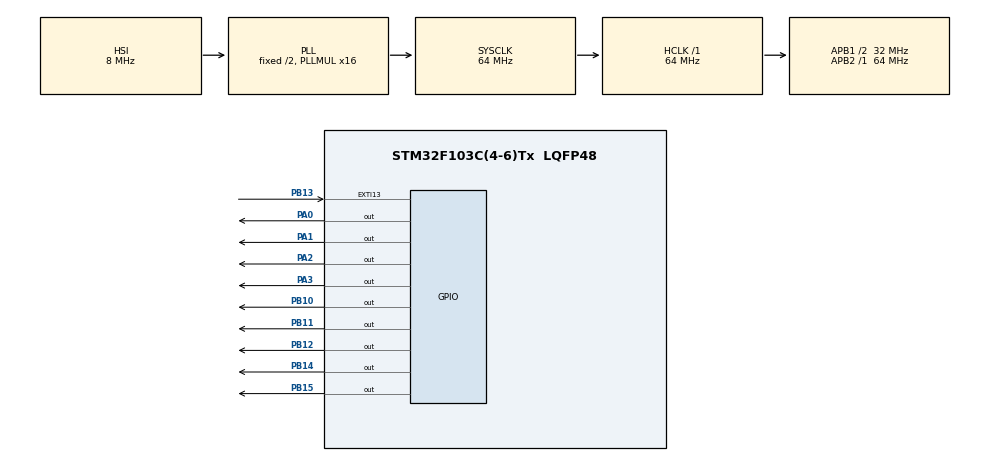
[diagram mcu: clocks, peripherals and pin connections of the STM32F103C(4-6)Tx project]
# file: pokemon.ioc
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FREERTOS.Tasks01=RedLight,0,128,StartRedLight,Default,NULL,Dynamic,NULL,NULL;GreenLight,0,128,StartGreenLight,Default,NULL,Dynamic,NULL,NULL
FREERTOS.configUSE_NEWLIB_REENTRANT=1
Mcu.Family=STM32F1
Mcu.Name=STM32F103C(4-6)Tx
Mcu.Package=LQFP48
NVIC.PriorityGroup=NVIC_PRIORITYGROUP_4
PA0-WKUP.Signal=GPIO_Output
PA1.Signal=GPIO_Output
PA2.Signal=GPIO_Output
PA3.Signal=GPIO_Output
PB10.Signal=GPIO_Output
PB11.Signal=GPIO_Output
PB12.Signal=GPIO_Output
PB13.Signal=GPXTI13
PB14.Signal=GPIO_Output
PB15.Signal=GPIO_Output
ProjectManager.HeapSize=0x200
ProjectManager.StackSize=0x400
ProjectManager.TargetToolchain=STM32CubeIDE
RCC.AHBFreq_Value=64000000
RCC.APB1CLKDivider=RCC_HCLK_DIV2
RCC.APB1Freq_Value=32000000
RCC.APB1TimFreq_Value=64000000
RCC.APB2Freq_Value=64000000
RCC.APB2TimFreq_Value=64000000
RCC.HCLKFreq_Value=64000000
RCC.PLLMUL=RCC_PLL_MUL16
RCC.SYSCLKFreq_VALUE=64000000
RCC.SYSCLKSource=RCC_SYSCLKSOURCE_PLLCLK
RCC.USBFreq_Value=64000000
VP_FREERTOS_VS_CMSIS_V1.Mode=CMSIS_V1
VP_SYS_VS_ND.Mode=No_Debug
board=custom

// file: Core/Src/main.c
/* USER CODE BEGIN Header */
/**
  ******************************************************************************
  * @file           : main.c
  * @brief          : Main program body
  ******************************************************************************
  * @attention
  *
  * Copyright (c) 2024 STMicroelectronics.
  * All rights reserved.
  *
  * This software is licensed under terms that can be found in the LICENSE file
  * in the root directory of this software component.
  * If no LICENSE file comes with this software, it is provided AS-IS.
  *
  ******************************************************************************
  */
/* USER CODE END Header */
#include "main.h"
#include "cmsis_os.h"

/* USER CODE BEGIN Includes */
#include "lcd_text.h"
/* USER CODE END Includes */

osThreadId RedLightHandle;
osThreadId GreenLightHandle;

void SystemClock_Config(void);
static void MX_GPIO_Init(void);
void StartRedLight(void const * argument);
void StartGreenLight(void const * argument);

int main(void)
{

  /* MCU Configuration--------------------------------------------------------*/

  /* Reset of all peripherals, Initializes the Flash interface and the Systick. */
  HAL_Init();

  /* Configure the system clock */
  SystemClock_Config();

  /* Initialize all configured peripherals */
  MX_GPIO_Init();

  /* Create the thread(s) */
  /* definition and creation of RedLight */
  osThreadDef(RedLight, StartRedLight, osPriorityNormal, 0, 128);
  RedLightHandle = osThreadCreate(osThread(RedLight), NULL);

  /* definition and creation of GreenLight */
  osThreadDef(GreenLight, StartGreenLight, osPriorityNormal, 0, 128);
  GreenLightHandle = osThreadCreate(osThread(GreenLight), NULL);

  /* Start scheduler */
  osKernelStart();

  /* We should never get here as control is now taken by the scheduler */

  /* Infinite loop */
  /* USER CODE BEGIN WHILE */
  int j = 0;
  while (1)
  {
    /* USER CODE END WHILE */

  }
}

void SystemClock_Config(void)
{
  RCC_OscInitTypeDef RCC_OscInitStruct = {0};
  RCC_ClkInitTypeDef RCC_ClkInitStruct = {0};

  /** Initializes the RCC Oscillators according to the specified parameters
  * in the RCC_OscInitTypeDef structure.
  */
  RCC_OscInitStruct.OscillatorType = RCC_OSCILLATORTYPE_HSI;
  RCC_OscInitStruct.HSIState = RCC_HSI_ON;
  RCC_OscInitStruct.HSICalibrationValue = RCC_HSICALIBRATION_DEFAULT;
  RCC_OscInitStruct.PLL.PLLState = RCC_PLL_ON;
  RCC_OscInitStruct.PLL.PLLSource = RCC_PLLSOURCE_HSI_DIV2;
  RCC_OscInitStruct.PLL.PLLMUL = RCC_PLL_MUL16;
  if (HAL_RCC_OscConfig(&RCC_OscInitStruct) != HAL_OK)
  {
    Error_Handler();
  }

  /** Initializes the CPU, AHB and APB buses clocks
  */
  RCC_ClkInitStruct.ClockType = RCC_CLOCKTYPE_HCLK|RCC_CLOCKTYPE_SYSCLK
                              |RCC_CLOCKTYPE_PCLK1|RCC_CLOCKTYPE_PCLK2;
  RCC_ClkInitStruct.SYSCLKSource = RCC_SYSCLKSOURCE_PLLCLK;
  RCC_ClkInitStruct.AHBCLKDivider = RCC_SYSCLK_DIV1;
  RCC_ClkInitStruct.APB1CLKDivider = RCC_HCLK_DIV2;
  RCC_ClkInitStruct.APB2CLKDivider = RCC_HCLK_DIV1;

  if (HAL_RCC_ClockConfig(&RCC_ClkInitStruct, FLASH_LATENCY_2) != HAL_OK)
  {
    Error_Handler();
  }
}

static void MX_GPIO_Init(void)
{
  GPIO_InitTypeDef GPIO_InitStruct = {0};

  /* GPIO Ports Clock Enable */
  __HAL_RCC_GPIOA_CLK_ENABLE();
  __HAL_RCC_GPIOB_CLK_ENABLE();

  /*Configure GPIO pin Output Level */
  HAL_GPIO_WritePin(GPIOA, GPIO_PIN_0|GPIO_PIN_1|GPIO_PIN_2|GPIO_PIN_3, GPIO_PIN_RESET);

  /*Configure GPIO pin Output Level */
  HAL_GPIO_WritePin(GPIOB, GPIO_PIN_10|GPIO_PIN_11|GPIO_PIN_12|GPIO_PIN_14
                          |GPIO_PIN_15, GPIO_PIN_RESET);

  /*Configure GPIO pins : PA0 PA1 PA2 PA3 */
  GPIO_InitStruct.Pin = GPIO_PIN_0|GPIO_PIN_1|GPIO_PIN_2|GPIO_PIN_3;
  GPIO_InitStruct.Mode = GPIO_MODE_OUTPUT_PP;
  GPIO_InitStruct.Pull = GPIO_NOPULL;
  GPIO_InitStruct.Speed = GPIO_SPEED_FREQ_LOW;
  HAL_GPIO_Init(GPIOA, &GPIO_InitStruct);

  /*Configure GPIO pins : PB10 PB11 PB12 PB14
                           PB15 */
  GPIO_InitStruct.Pin = GPIO_PIN_10|GPIO_PIN_11|GPIO_PIN_12|GPIO_PIN_14
                          |GPIO_PIN_15;
  GPIO_InitStruct.Mode = GPIO_MODE_OUTPUT_PP;
  GPIO_InitStruct.Pull = GPIO_NOPULL;
  GPIO_InitStruct.Speed = GPIO_SPEED_FREQ_LOW;
  HAL_GPIO_Init(GPIOB, &GPIO_InitStruct);

  /*Configure GPIO pin : PB13 */
  GPIO_InitStruct.Pin = GPIO_PIN_13;
  GPIO_InitStruct.Mode = GPIO_MODE_IT_RISING;
  GPIO_InitStruct.Pull = GPIO_NOPULL;
  HAL_GPIO_Init(GPIOB, &GPIO_InitStruct);

}

void StartRedLight(void const * argument)
{
  /* USER CODE BEGIN 5 */
  /* Infinite loop */
	int j=0;
  for(;;)
  {
	  j = HAL_GPIO_ReadPin(GPIOA,GPIO_PIN_0);
	  if (j==1){
		  HAL_GPTIO_WritePin(GPIOA, GPTO_RESET);

	  }
	  else{
		  HAL_GPTIO_WritePin(GPIOA, GPTO_SET);
		  lcd_init();
		  lcd_puts(0,0,(int8_t*)"Red=ON/Green=OFF");
		  HAL_DELAY(1000);
		  lcd_clear();
	  }
    osDelay(100);
  }
  /* USER CODE END 5 */
}

void StartGreenLight(void const * argument)
{
  /* USER CODE BEGIN StartGreenLight */
  /* Infinite loop */
	int j;
  for(;;)
  {
	  j = HAL_GPIO_ReadPin(GPIOA,GPIO_PIN_0);
	  	  if (j==1){
	  		  HAL_GPTIO_WritePin(GPIOA, GPTO_RESET);
	  	  }
	  	  else{
	  		  HAL_GPTIO_WritePin(GPIOA, GPTO_SET);
	  		lcd_init();
	  		lcd_puts(0,0,(int8_t*)"Red=OFF/Green=ON");
	  		HAL_DELAY(1000);
	  		lcd_clear();
	  	  }
	      osDelay(100);;
  }
  /* USER CODE END StartGreenLight */
}

void Error_Handler(void)
{
  __disable_irq();
  while (1)
  {
  }
}
